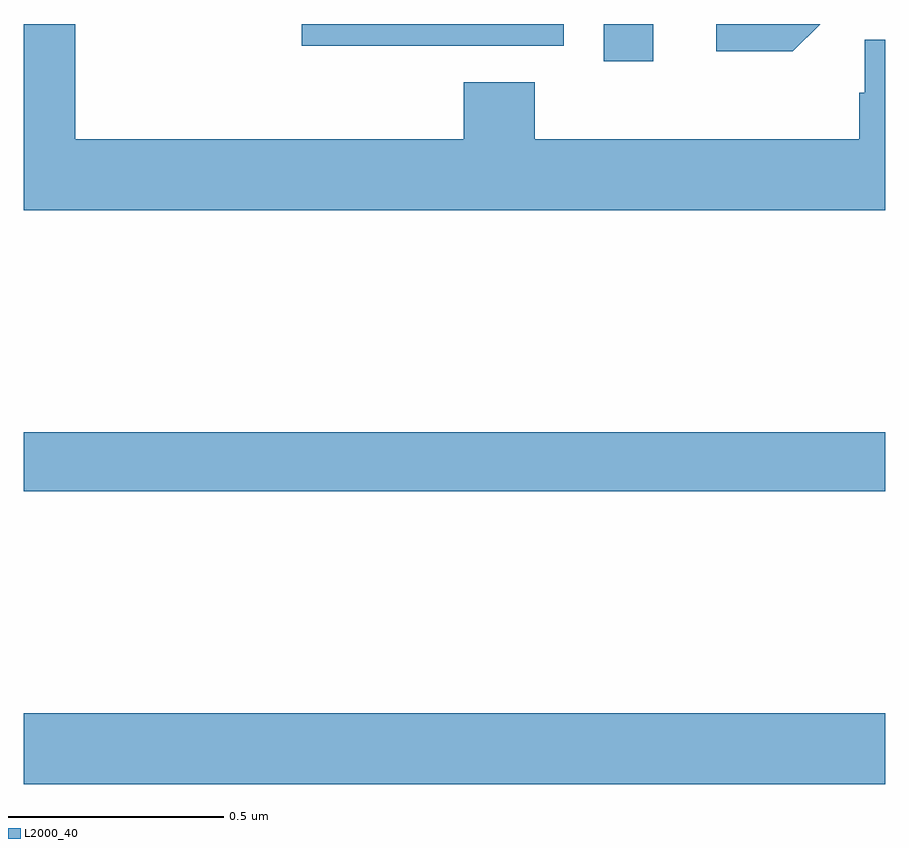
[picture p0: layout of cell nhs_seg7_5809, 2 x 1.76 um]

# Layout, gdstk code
import gdstk
lib = gdstk.Library(unit=1e-6, precision=1e-09)
def R(c, l, rs):  # rectangles x0, y0, x1, y1
    for r in rs: c.add(gdstk.rectangle(r[:2], r[2:], *l))
def P(c, l, *ps):  # polygons
    for p in ps: c.add(gdstk.Polygon(p, *l))
L2000_40 = (2000, 40)

nhs_seg7_5809 = lib.new_cell('nhs_seg7_5809')
R(nhs_seg7_5809, L2000_40, [(190,1047.236,192,1047.4), (190,1047.916,192,1048.052), (191.346,1048.914,191.461,1049)])
P(nhs_seg7_5809, L2000_40, [(192,1048.964),(191.952,1048.964),(191.952,1048.841),(191.939,1048.841),(191.939,1048.732),(191.186,1048.732),(191.186,1048.865),(191.021,1048.865),(191.021,1048.732),(190.12,1048.732),(190.12,1049),(190,1049),(190,1048.568),(192,1048.568)],
  [(191.849,1049),(191.607,1049),(191.607,1048.937),(191.785,1048.937)],
  [(190.937,1048.95),(191.253,1048.95),(191.253,1049),(190.645,1049),(190.645,1048.949),(190.937,1048.949)])

lib.write_gds('nhs_seg7_5809.gds')
